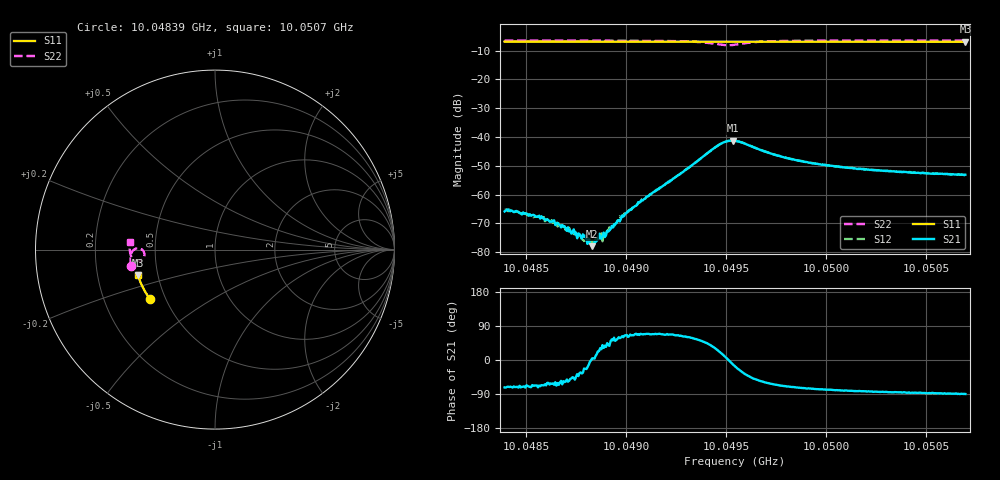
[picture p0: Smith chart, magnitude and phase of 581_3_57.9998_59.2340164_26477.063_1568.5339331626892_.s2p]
#  HZ  S  RI  R  50.00
! Rohde & Schwarz Vector Network Analyzer
! Rohde-Schwarz,ZNB20-2Port,1311601062101988,3.16
! Created: UTC 3/21/2024, 1:16:20 AM
! freq[Hz]  re:S11  im:S11  re:S21  im:S21  re:S12  im:S12  re:S22  im:S22
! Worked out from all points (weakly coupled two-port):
!   401 points, 10.04839 GHz to 10.0507 GHz, reference 50 ohm
!   highest |S21| = -41.25 dB at 10.04953 GHz (marker M1); lowest = -77.9 dB at 10.04883 GHz (marker M2)
!   lowest |S11| = -6.9 dB at 10.0507 GHz (marker M3), VSWR 2.65, Z = 19.3 - j6.94 ohm
!   |S11| at or under -10 dB: nowhere
!   |S22| runs from -8.1 to -6.4 dB; largest |S21 - S12| = 0.00063
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1.0048392e10  -0.362 -0.2776  0.000154 -0.000484  0.000217 -0.000504  -0.4681 -0.0929
1.0048496e10  -0.366 -0.2719  0.000139 -0.00045  0.000218 -0.000404  -0.4691 -0.0854
1.004864e10  -0.3715 -0.2642  0.000149 -0.000323  0.000161 -0.000311  -0.4705 -0.0748
1.0048755e10  -0.3757 -0.2578  0.000138 -0.000106  0.000163 -0.000133  -0.4712 -0.0657
1.0048778e10  -0.3764 -0.2566  0.00014 -0.000101  0.000145 -8.97e-05  -0.4713 -0.0638
1.0048795e10  -0.377 -0.2557  0.000179 -7.63e-05  0.000125 -7.55e-05  -0.4714 -0.0625
1.0048818e10  -0.378 -0.2543  0.000147 -1.25e-05  0.00016 -1.79e-05  -0.4716 -0.0606
1.004883e10  -0.3782 -0.2536  0.000126 9.69e-06  0.000146 1.32e-05  -0.4715 -0.0595
1.0048841e10  -0.3786 -0.253  0.00015 9.48e-06  0.000142 4.31e-05  -0.4715 -0.0585
1.004887e10  -0.3797 -0.2515  0.000154 9.38e-05  0.000164 8.64e-05  -0.4717 -0.0562
1.0048905e10  -0.381 -0.2495  0.000167 0.000165  0.000157 0.000173  -0.4716 -0.0533
1.004898e10  -0.3834 -0.2452  0.000195 0.000383  0.000194 0.00038  -0.4714 -0.0464
1.0049066e10  -0.3862 -0.2403  0.000293 0.000662  0.000247 0.000692  -0.4708 -0.0379
1.0049164e10  -0.3895 -0.2346  0.000441 0.00116  0.000394 0.00122  -0.4686 -0.0268
1.0049458e10  -0.3981 -0.2174  0.00639 0.00308  0.00617 0.0035  -0.4097 0.00207
1.0049498e10  -0.399 -0.2151  0.00823 0.000984  0.00819 0.00157  -0.3944 -0.0181
1.0049533e10  -0.3999 -0.2135  0.00849 -0.00167  0.00863 -0.00112  -0.3958 -0.0417
1.0049545e10  -0.4004 -0.2129  0.00821 -0.00251  0.0084 -0.0019  -0.3997 -0.0484
1.0049746e10  -0.4068 -0.2013  0.00206 -0.00442  0.00235 -0.00434  -0.4621 -0.0457
1.0049931e10  -0.4118 -0.1903  0.000851 -0.00338  0.00108 -0.00339  -0.4722 -0.0221
1.0050317e10  -0.421 -0.1666  0.000222 -0.00252  0.000403 -0.00253  -0.4754 0.0125
1.0050697e10  -0.4291 -0.1431  1.03e-05 -0.00221  0.000151 -0.00217  -0.4741 0.0407
